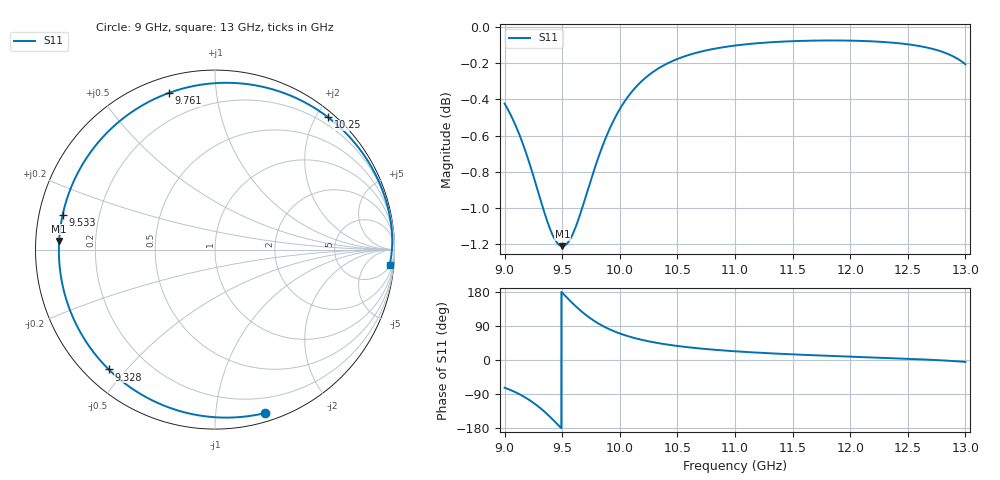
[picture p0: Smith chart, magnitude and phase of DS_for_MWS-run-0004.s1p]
! TOUCHSTONE file generated by CST DESIGN STUDIO
! Date and time: Tue Feb  4 18:10:16 2025
! Project name: C:\Work\MatlabApps\UnitCellOptimizationMatlab\CST\unitcell.cst
! Tree item: Tasks\Sweep1\SPara1\S-Parameters
! Header version: 2024
! Port assignment regex: !\s*Touchstone port\s*([0-9]+)\s*=\s*(CST MWS port|CST DES external port|CST DES block port)\s*(.+)\s* \(\"(.*)\"\)(\s*mode\s*([0-9]+))?.*
! Touchstone port assignment:
! Touchstone port 1 = CST DES external port 1 ("")
# GHz S MA R 50
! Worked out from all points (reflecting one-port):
!   4001 points, 9 GHz to 13 GHz, reference 50 ohm
!   lowest |S11| = -1.2 dB at 9.502 GHz (marker M1), VSWR 14.37, Z = 3.48 + j1.37 ohm
!   phase of S11 starts at -73 deg and turns -292 deg over the sweep
!   S11 on the Smith chart (normalised r, x): 9 GHz: 0.07, -1.35; 9.328 GHz: 0.07, -0.45; 9.533 GHz: 0.07, +0.11; 9.761 GHz: 0.07, +0.74; 10.25 GHz: 0.09, +2.17; 13 GHz: 6, -21
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9  0.9524 -73.1
9.086  0.9408 -83.9
9.189  0.9224 -100.6
9.261  0.9071 -115.3
9.328  0.8923 -131.6
9.373  0.8832 -143.8
9.421  0.8754 -157.9
9.461  0.8713 -170.3
9.5  0.8699 177.5
9.502  0.8699 176.8
9.533  0.8707 167.1
9.587  0.8759 150.6
9.649  0.8863 133.1
9.704  0.8977 119.2
9.761  0.9098 106.5
9.81  0.9196 97.0
9.864  0.9295 87.9
9.931  0.9401 78.3
10  0.9491 70.0
10.115  0.9606 59.0
10.247  0.9696 49.5
10.5  0.9799 37.0
10.722  0.9848 29.7
11  0.9883 23.0
11.5  0.991 14.9
12  0.9914 8.9
12.5  0.9891 3.2
13  0.9766 -5.1
